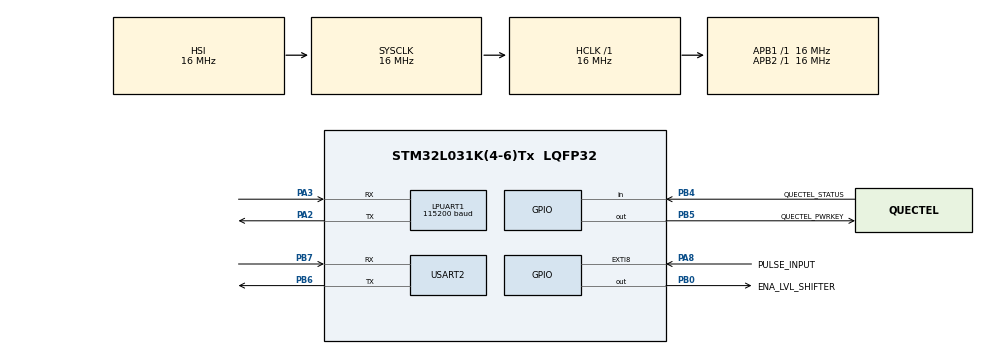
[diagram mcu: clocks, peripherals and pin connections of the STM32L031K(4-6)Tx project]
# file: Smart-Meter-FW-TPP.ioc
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Dma.Request0=USART2_RX
Dma.USART2_RX.0.Direction=DMA_PERIPH_TO_MEMORY
Dma.USART2_RX.0.Instance=DMA1_Channel5
Dma.USART2_RX.0.MemDataAlignment=DMA_MDATAALIGN_BYTE
Dma.USART2_RX.0.MemInc=DMA_MINC_ENABLE
Dma.USART2_RX.0.Mode=DMA_NORMAL
Dma.USART2_RX.0.PeriphDataAlignment=DMA_PDATAALIGN_BYTE
Dma.USART2_RX.0.PeriphInc=DMA_PINC_DISABLE
Dma.USART2_RX.0.Priority=DMA_PRIORITY_VERY_HIGH
IWDG.Prescaler=IWDG_PRESCALER_256
LPUART1.BaudRate=115200
LPUART1.WordLength=UART_WORDLENGTH_8B
Mcu.Family=STM32L0
Mcu.Name=STM32L031K(4-6)Tx
Mcu.Package=LQFP32
NVIC.DMA1_Channel4_5_6_7_IRQn=true\:0\:0\:false\:false\:true\:false\:true\:true
NVIC.EXTI4_15_IRQn=true\:0\:0\:false\:false\:true\:true\:true\:true
NVIC.LPUART1_IRQn=true\:0\:0\:false\:false\:true\:true\:true\:true
NVIC.RTC_IRQn=true\:0\:0\:false\:false\:true\:true\:true\:true
NVIC.USART2_IRQn=true\:0\:0\:true\:false\:true\:true\:true\:true
PA2.Mode=Asynchronous
PA2.Signal=LPUART1_TX
PA3.Mode=Asynchronous
PA3.Signal=LPUART1_RX
PA8.GPIO_Label=PULSE_INPUT
PA8.GPIO_ModeDefaultEXTI=GPIO_MODE_IT_FALLING
PA8.GPIO_PuPd=GPIO_NOPULL
PA8.Signal=GPXTI8
PB0.GPIO_Label=ENA_LVL_SHIFTER
PB0.Signal=GPIO_Output
PB4.GPIO_Label=QUECTEL_STATUS
PB4.GPIO_PuPd=GPIO_PULLDOWN
PB4.Signal=GPIO_Input
PB5.GPIO_Label=QUECTEL_PWRKEY
PB5.GPIO_ModeDefaultOutputPP=GPIO_MODE_OUTPUT_OD
PB5.GPIO_PuPd=GPIO_NOPULL
PB5.GPIO_Speed=GPIO_SPEED_FREQ_LOW
PB5.PinState=GPIO_PIN_SET
PB5.Signal=GPIO_Output
PB6.Mode=Asynchronous
PB6.Signal=USART2_TX
PB7.Mode=Asynchronous
PB7.Signal=USART2_RX
PC14-OSC32_IN.Mode=LSE-External-Oscillator
PC14-OSC32_IN.Signal=RCC_OSC32_IN
PC15-OSC32_OUT.Mode=LSE-External-Oscillator
PC15-OSC32_OUT.Signal=RCC_OSC32_OUT
ProjectManager.HeapSize=0x200
ProjectManager.StackSize=0x400
ProjectManager.TargetToolchain=CMake
RCC.ADCFreq_Value=16000000
RCC.AHBFreq_Value=16000000
RCC.APB1Freq_Value=16000000
RCC.APB1TimFreq_Value=16000000
RCC.APB2Freq_Value=16000000
RCC.APB2TimFreq_Value=16000000
RCC.EnableCSSLSE=true
RCC.HCLKFreq_Value=16000000
RCC.HSE_VALUE=8000000
RCC.HSI16_VALUE=16000000
RCC.HSI_VALUE=16000000
RCC.MSI_VALUE=2097000
RCC.RTCClockSelection=RCC_RTCCLKSOURCE_LSE
RCC.RTCClockSelectionVirtual=RCC_RTCCLKSOURCE_LSE
RCC.SYSCLKFreq_VALUE=16000000
RCC.SYSCLKSource=RCC_SYSCLKSOURCE_HSI
RCC.VCOOutputFreq_Value=48000000
RTC.Alarm-Alarm\ A=RTC_ALARM_A
RTC.AsynchPrediv=127
RTC.SynchPrediv=255
USART2.AutoBaudRateEnableParam=UART_ADVFEATURE_AUTOBAUDRATE_ENABLE
USART2.VirtualMode-Asynchronous=VM_ASYNC
VP_IWDG_VS_IWDG.Mode=IWDG_Activate
VP_RTC_VS_RTC_Activate.Mode=RTC_Enabled
VP_RTC_VS_RTC_Alarm_A_Intern.Mode=Alarm A
VP_RTC_VS_RTC_Calendar.Mode=RTC_Calendar
board=custom

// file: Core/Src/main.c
/* USER CODE BEGIN Header */
/**
 ******************************************************************************
 * @file           : main.c
 * @brief          : Main program body
 ******************************************************************************
 * @attention
 *
 * Copyright (c) 2025 STMicroelectronics.
 * All rights reserved.
 *
 * This software is licensed under terms that can be found in the LICENSE file
 * in the root directory of this software component.
 * If no LICENSE file comes with this software, it is provided AS-IS.
 *
 ******************************************************************************
 */
/* USER CODE END Header */
#include "main.h"
#include "dma.h"
#include "iwdg.h"
#include "usart.h"
#include "rtc.h"
#include "gpio.h"

/* USER CODE BEGIN Includes */
#include <stdio.h>
#include <string.h>

#include "ATCom.h"
#include "delay.h"
#include "lpm.h"
#include "printf_retarget.h"
#include "pulse_counter.h"
#include "storage.h"

/* USER CODE END Includes */

/* USER CODE BEGIN PD */
#define REGISTRATION_TIMEOUT_MS  720000  /* Max time for device registration (12 min: covers QIACT 150s + QIOPEN 150s with retries) */
#define SESSION_PERIOD_SEC       60      /* Interval between HES sessions */

/* Uncomment to wipe EEPROM on boot (forces re-registration) */
// #define DEBUG_ERASE_EEPROM

/* Tests — uncomment ONE at a time (or none for the normal flow) */
// #define TEST_PWRKEY_STATUS
//#define TEST_RTC_WAKEUP
//#define TEST_LPM_STOP
/* USER CODE END PD */

/* USER CODE BEGIN PV */
/* Delay timer handle for AT commands. */
int32_t at_command_delay;
extern UART_HandleTypeDef huart2;
/* USER CODE END PV */

void SystemClock_Config(void);

/* USER CODE BEGIN 0 */
#if defined(TEST_PWRKEY_STATUS) || defined(TEST_RTC_WAKEUP)
static inline bool read_status(void) {
  return HAL_GPIO_ReadPin(QUECTEL_STATUS_GPIO_Port,
                          QUECTEL_STATUS_Pin) == GPIO_PIN_SET;
}
#endif

#ifdef TEST_PWRKEY_STATUS
static void run_pwrkey_status_test(void) {
  printf("\r\n=== PWRKEY + STATUS TEST ===\r\n");

  bool s0 = read_status();
  printf("[1] STATUS inicial: %d  (esperado: 0)\r\n", s0);

  printf("[2] Power ON...\r\n");
  uint32_t t0 = HAL_GetTick();
  bool on_ok = ATCore_power_on();
  uint32_t on_ms = HAL_GetTick() - t0;
  printf("    ATCore_power_on = %d  (%lu ms)\r\n", on_ok, on_ms);

  bool s1 = read_status();
  printf("[3] STATUS post power_on: %d  (esperado: 1)\r\n", s1);

  HAL_Delay(3000);

  printf("[4] Power OFF (PWRKEY pulse + polling STATUS)...\r\n");
  t0 = HAL_GetTick();
  bool off_ok = ATCore_power_off();
  uint32_t off_ms = HAL_GetTick() - t0;
  printf("    ATCore_power_off = %d  (%lu ms)\r\n", off_ok, off_ms);
  /* off_ok == 1 ya implica que STATUS fue a LOW dentro del timeout */

  bool pass = !s0 && on_ok && s1 && off_ok;
  printf("=== RESULT: %s ===\r\n\r\n", pass ? "PASS" : "FAIL");

  while (1) { HAL_IWDG_Refresh(&hiwdg); HAL_Delay(1000); }
}
#endif

/**
 * @brief Power on the modem and wait until it's ready for network operations
 *        (AT alive + SIM READY + network attached). Uses Quectel-recommended
 *        default timeouts from TCP/IP App Note v1.4 fig 1.
 *
 * @return bg95_ready_t — OK if ready, specific failure code otherwise.
 *         Caller decides action based on which phase failed (MCU reset vs
 *         sleep until next wake-up).
 */
static bg95_ready_t modem_power_on_and_ready(void) {
  if (!ATCore_power_on()) return BG95_READY_AT_TIMEOUT;
  return ATCore_wait_until_ready(BG95_READY_AT_TIMEOUT_MS,
                                  BG95_READY_SIM_TIMEOUT_MS,
                                  BG95_READY_NET_TIMEOUT_MS);
}

/**
 * @brief Bring the modem up, sleeping one cycle at a time while there is no
 *        network coverage. Hardware or SIM failures reset the MCU.
 *
 * Used at boot as well as before every session: a device installed where
 * there is no coverage must sleep and retry, not loop through resets with
 * the modem powered.
 */
static void modem_up_or_sleep(void) {
  while (1) {
    bg95_ready_t r = modem_power_on_and_ready();
    if (r == BG95_READY_OK) return;
    if (r != BG95_READY_NET_TIMEOUT) NVIC_SystemReset();
    ATCore_power_off();
    LPM_sleep_seconds(SESSION_PERIOD_SEC);
  }
}

#ifdef TEST_RTC_WAKEUP
#define TEST_RTC_PERIOD_SEC  30   /* shorter than SESSION_PERIOD_SEC to iterate quickly */
#define TEST_RTC_CYCLES      5    /* number of cycles before trapping */

static void run_rtc_wakeup_test(void) {
  printf("\r\n=== RTC WAKEUP TEST ===\r\n");
  printf("Ciclo: power_on -> (simula sesion 2s) -> power_off -> alarm(%ds)\r\n",
         TEST_RTC_PERIOD_SEC);
  printf("Se ejecutan %d ciclos. HSI mide el elapsed; compara con LSE.\r\n\r\n",
         TEST_RTC_CYCLES);

  for (uint32_t cycle = 1; cycle <= TEST_RTC_CYCLES; cycle++) {
    printf("--- Ciclo %lu/%d ---\r\n", cycle, TEST_RTC_CYCLES);

    uint32_t t0 = HAL_GetTick();
    bool on_ok = ATCore_power_on();
    printf("  [t=%lums] power_on=%d  STATUS=%d  (took %lums)\r\n",
           HAL_GetTick(), on_ok, read_status(), HAL_GetTick() - t0);

    /* Com_session_*() would run here in production — skipped in this test */
    HAL_Delay(2000);

    t0 = HAL_GetTick();
    bool off_ok = ATCore_power_off();
    printf("  [t=%lums] power_off=%d  (took %lums)\r\n",
           HAL_GetTick(), off_ok, HAL_GetTick() - t0);

    printf("  [t=%lums] Armando alarma RTC por %ds...\r\n",
           HAL_GetTick(), TEST_RTC_PERIOD_SEC);
    uint32_t t_arm = HAL_GetTick();
    RTC_arm_alarm(TEST_RTC_PERIOD_SEC);
    while (!RTC_alarm_fired()) { HAL_IWDG_Refresh(&hiwdg); }
    uint32_t elapsed = HAL_GetTick() - t_arm;
    RTC_clear_alarm_flag();

    int32_t drift_ms = (int32_t)elapsed - (TEST_RTC_PERIOD_SEC * 1000);
    printf("  [t=%lums] ALARM FIRED! elapsed=%lums drift=%+ldms\r\n\r\n",
           HAL_GetTick(), elapsed, drift_ms);
  }

  printf("=== %d ciclos completados ===\r\n", TEST_RTC_CYCLES);
  while (1) { HAL_IWDG_Refresh(&hiwdg); HAL_Delay(1000); }
}
#endif

#ifdef TEST_LPM_STOP
#define TEST_LPM_PERIOD_SEC  10
#define TEST_LPM_CYCLES      5

static void run_lpm_stop_test(void) {
  printf("\r\n=== LPM STOP TEST ===\r\n");
  printf("Ciclo: arm alarm(%ds) -> STOP -> wake.\r\n", TEST_LPM_PERIOD_SEC);
  printf("%d ciclos. Cortocircuita PA8 a GND durante STOP para validar\r\n",
         TEST_LPM_CYCLES);
  printf("que el pulso despierta, incrementa y vuelve a dormir.\r\n");
  printf("Corriente esperada en STOP: ~1-2 uA (DEBUG anade ~100 uA).\r\n\r\n");

  uint32_t prev_pulses = PulseCounter_get_count();
  printf("Pulsos iniciales: %lu\r\n\r\n", prev_pulses);

  for (uint32_t cycle = 1; cycle <= TEST_LPM_CYCLES; cycle++) {
    printf("--- Ciclo %lu/%d ---\r\n", cycle, TEST_LPM_CYCLES);

    uint32_t ts_hi_pre, ts_lo_pre;
    RTC_get_timestamp(&ts_hi_pre, &ts_lo_pre);
    printf("  [rtc=%lu] Armando alarma %ds y entrando a STOP...\r\n",
           ts_lo_pre, TEST_LPM_PERIOD_SEC);

    LPM_sleep_seconds(TEST_LPM_PERIOD_SEC);

    uint32_t ts_hi_post, ts_lo_post;
    RTC_get_timestamp(&ts_hi_post, &ts_lo_post);
    uint32_t elapsed = ts_lo_post - ts_lo_pre;
    int32_t drift = (int32_t)elapsed - (int32_t)TEST_LPM_PERIOD_SEC;

    uint32_t pulses = PulseCounter_get_count();
    uint32_t delta_pulses = pulses - prev_pulses;
    prev_pulses = pulses;

    printf("  [rtc=%lu] WAKE! elapsed=%lus drift=%+lds pulses_delta=%lu\r\n\r\n",
           ts_lo_post, elapsed, drift, delta_pulses);
  }

  printf("=== %d ciclos OK ===\r\n", TEST_LPM_CYCLES);
  while (1) { HAL_IWDG_Refresh(&hiwdg); HAL_Delay(1000); }
}
#endif
/* USER CODE END 0 */

int main(void)
{

  /* MCU Configuration--------------------------------------------------------*/

  /* Reset of all peripherals, Initializes the Flash interface and the Systick. */
  HAL_Init();

  /* Configure the system clock */
  SystemClock_Config();

  /* Initialize all configured peripherals */
  MX_GPIO_Init();
  MX_DMA_Init();
  MX_USART2_UART_Init();
  MX_LPUART1_UART_Init();
  MX_RTC_Init();
  MX_IWDG_Init();
  /* USER CODE BEGIN 2 */
  delay_init();
  LPM_init();

  /* Enable the LSE CSS interrupt (EXTI19 -> RTC_IRQn). SystemClock_Config
   * already armed the CSS detector; this adds the IT path so a LSE failure
   * wakes us and triggers the runtime fallback to LSI. The EXTI/CIER bits
   * survive STOP, so this only needs to be set once. */
  HAL_RCCEx_EnableLSECSS_IT();
  ATCore_init(&huart2);
  Com_Init();
  Storage_init();

#ifdef DEBUG_ERASE_EEPROM
  Storage_erase_all();

#endif

  /* Load credentials from EEPROM if device was previously registered */
  if (Storage_is_registered()) {
    uint8_t dev_id[DEV_ID_BYTES];
    uint8_t mac[MAC_BYTES];
    Storage_load_credentials(dev_id, mac);
    ATCore_set_device_id(dev_id);
    ATCore_set_device_mac(mac);
    PulseCounter_set_count(Storage_load_pulse_count());
  }

  /* Create the delay timer for AT commands. */
  at_command_delay = delay_timer_create();

#ifdef TEST_PWRKEY_STATUS
  run_pwrkey_status_test();  /* never returns */
#endif
#ifdef TEST_RTC_WAKEUP
  run_rtc_wakeup_test();     /* never returns */
#endif
#ifdef TEST_LPM_STOP
  run_lpm_stop_test();       /* never returns */
#endif

  /* Power on modem and wait until ready (AT alive + SIM READY + network
   * attached). Without coverage, sleep and retry; AT or SIM failures reset
   * the MCU for a clean boot. */
  modem_up_or_sleep();

  /* Fetch and persist IMEI on first boot (modem must be on) */
  if (!Storage_has_imei()) {
    char imei[STORAGE_IMEI_LEN];
    if (ATCore_get_imei(imei, sizeof(imei))) {
      Storage_save_imei(imei);
    }
  }

  if (!Storage_is_registered()) {
    if (!Com_register_device_blocking(REGISTRATION_TIMEOUT_MS)) {
      NVIC_SystemReset();
    }
  }

  /* If HES provided a wake-up time during registration, honor it before the
   * first session: power off and sleep until the absolute moment HES asked.
   * A registered device that rebooted recovers that moment from EEPROM, so a
   * reset does not make it miss its appointment. */
  uint32_t initial_wake = Com_pop_pending_wake_seconds();
  if (initial_wake == 0) initial_wake = Com_saved_wake_seconds();
  if (initial_wake > 0) {
    ATCore_power_off();
    LPM_sleep_seconds(initial_wake);
    modem_up_or_sleep();
  }
  /* USER CODE END 2 */

  /* Infinite loop */
  while (1) {

    /* USER CODE BEGIN 3 */
    /* If the LSE died (CSS), switch the RTC clock to LSI now (outside ISR). */
    if (RTC_lse_failed()) RTC_switch_to_lsi();

    /* Ensure modem is powered and network-ready before each session.
     * If there is no coverage, sleep one cycle and retry — do not hard
     * reset for a transient signal issue. Hardware faults (AT/SIM) DO
     * trigger reset. */
    modem_up_or_sleep();

    Com_session_start();
    while (!Com_is_session_done()) {
      HAL_IWDG_Refresh(&hiwdg);
      Com_session_process();
    }
    ATCore_power_off();

    /* Session failed after exhausting retries: skip the sleep and let
     * the next loop iteration cycle the modem (off->on) immediately to
     * retry. Useful when NB-IoT signal is intermittent. */
    if (Com_session_failed()) continue;

    /* HES dictates next wake-up if it sent one in this session's response;
     * fall back to local default cadence otherwise. */
    uint32_t next_wake = Com_pop_pending_wake_seconds();
    if (next_wake == 0) next_wake = SESSION_PERIOD_SEC;

    LPM_sleep_seconds(next_wake);
  }
  /* USER CODE END 3 */
}

void SystemClock_Config(void)
{
  RCC_OscInitTypeDef RCC_OscInitStruct = {0};
  RCC_ClkInitTypeDef RCC_ClkInitStruct = {0};
  RCC_PeriphCLKInitTypeDef PeriphClkInit = {0};

  /** Configure the main internal regulator output voltage
  */
  __HAL_PWR_VOLTAGESCALING_CONFIG(PWR_REGULATOR_VOLTAGE_SCALE1);

  /** Configure LSE Drive Capability
  */
  HAL_PWR_EnableBkUpAccess();
  __HAL_RCC_LSEDRIVE_CONFIG(RCC_LSEDRIVE_LOW);

  /** Initializes the RCC Oscillators according to the specified parameters
  * in the RCC_OscInitTypeDef structure.
  */
  RCC_OscInitStruct.OscillatorType = RCC_OSCILLATORTYPE_HSI|RCC_OSCILLATORTYPE_LSI
                              |RCC_OSCILLATORTYPE_LSE;
  RCC_OscInitStruct.LSEState = RCC_LSE_ON;
  RCC_OscInitStruct.HSIState = RCC_HSI_ON;
  RCC_OscInitStruct.HSICalibrationValue = RCC_HSICALIBRATION_DEFAULT;
  RCC_OscInitStruct.LSIState = RCC_LSI_ON;
  RCC_OscInitStruct.PLL.PLLState = RCC_PLL_NONE;
  if (HAL_RCC_OscConfig(&RCC_OscInitStruct) != HAL_OK)
  {
    Error_Handler();
  }

  /** Initializes the CPU, AHB and APB buses clocks
  */
  RCC_ClkInitStruct.ClockType = RCC_CLOCKTYPE_HCLK|RCC_CLOCKTYPE_SYSCLK
                              |RCC_CLOCKTYPE_PCLK1|RCC_CLOCKTYPE_PCLK2;
  RCC_ClkInitStruct.SYSCLKSource = RCC_SYSCLKSOURCE_HSI;
  RCC_ClkInitStruct.AHBCLKDivider = RCC_SYSCLK_DIV1;
  RCC_ClkInitStruct.APB1CLKDivider = RCC_HCLK_DIV1;
  RCC_ClkInitStruct.APB2CLKDivider = RCC_HCLK_DIV1;

  if (HAL_RCC_ClockConfig(&RCC_ClkInitStruct, FLASH_LATENCY_0) != HAL_OK)
  {
    Error_Handler();
  }
  PeriphClkInit.PeriphClockSelection = RCC_PERIPHCLK_USART2|RCC_PERIPHCLK_LPUART1
                              |RCC_PERIPHCLK_RTC;
  PeriphClkInit.Usart2ClockSelection = RCC_USART2CLKSOURCE_PCLK1;
  PeriphClkInit.Lpuart1ClockSelection = RCC_LPUART1CLKSOURCE_PCLK1;
  PeriphClkInit.RTCClockSelection = RCC_RTCCLKSOURCE_LSE;
  if (HAL_RCCEx_PeriphCLKConfig(&PeriphClkInit) != HAL_OK)
  {
    Error_Handler();
  }

  /** Enables the Clock Security System
  */
  HAL_RCCEx_EnableLSECSS();
}

void Error_Handler(void)
{
  /* USER CODE BEGIN Error_Handler_Debug */
  /* User can add his own implementation to report the HAL error return state */
  NVIC_SystemReset();
   /* USER CODE END Error_Handler_Debug */
}
#ifdef USE_FULL_ASSERT
/**
  * @brief  Reports the name of the source file and the source line number
  *         where the assert_param error has occurred.
  * @param  file: pointer to the source file name
  * @param  line: assert_param error line source number
  * @retval None
  */
void assert_failed(uint8_t *file, uint32_t line)
{
  /* USER CODE BEGIN 6 */
  /* User can add his own implementation to report the file name and line
     number, ex: printf("Wrong parameters value: file %s on line %d\r\n", file,
     line) */
  /* USER CODE END 6 */
}
#endif /* USE_FULL_ASSERT */
